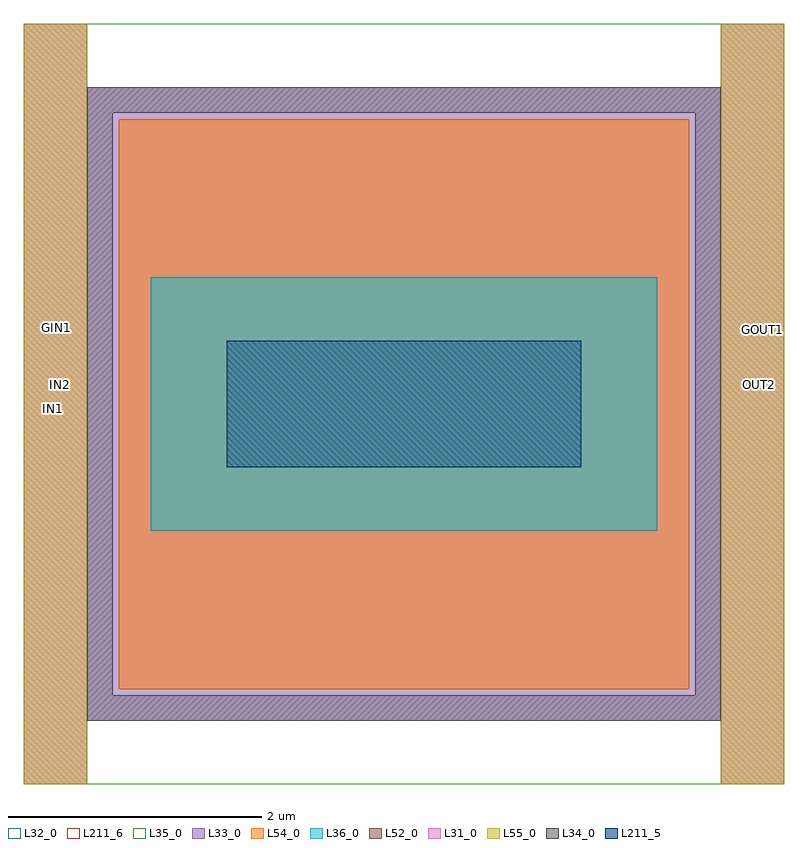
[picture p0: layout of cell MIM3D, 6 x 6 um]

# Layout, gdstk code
import gdstk
lib = gdstk.Library(unit=1e-6, precision=1e-09)
def R(c, l, rs):  # rectangles x0, y0, x1, y1
    for r in rs: c.add(gdstk.rectangle(r[:2], r[2:], *l))
def P(c, l, *ps):  # polygons
    for p in ps: c.add(gdstk.Polygon(p, *l))
L31_0 = (31, 0)
L32_0 = (32, 0)
L33_0 = (33, 0)
L34_0 = (34, 0)
L35_0 = (35, 0)
L36_0 = (36, 0)
L52_0 = (52, 0)
L54_0 = (54, 0)
L55_0 = (55, 0)
L211_5 = (211, 5)
L211_6 = (211, 6)

mim3d = lib.new_cell('MIM3D')
R(mim3d, L31_0, [(-3,-3,-2.5,3), (2.5,-3,3,3)])
R(mim3d, L32_0, [(-3,-3,3,3)])
R(mim3d, L33_0, [(-2.5,-2.5,2.5,2.5)])
P(mim3d, L34_0, [(2.5,2.5),(2.3,2.5),(2.3,-2.3),(-2.3,-2.3),(-2.3,2.3),(2.3,2.3),(2.3,2.5),(-2.5,2.5),(-2.5,-2.5),(2.5,-2.5)])
R(mim3d, L35_0, [(-3,-3,3,3)])
R(mim3d, L36_0, [(-2,-1,2,1)])
R(mim3d, L52_0, [(-3,-3,-2.5,3), (2.5,-3,3,3)])
R(mim3d, L54_0, [(-2.25,-2.25,2.25,2.25)])
R(mim3d, L55_0, [(-3,-3,-2.5,3), (2.5,-3,3,3)])
R(mim3d, L211_5, [(-1.4,-0.5,1.4,0.5)])
R(mim3d, L211_6, [(-3,-3,3,3)])
mim3d.add(gdstk.Label('GOUT1', (2.83,0.585), layer=132, texttype=0))
mim3d.add(gdstk.Label('GIN1', (-2.74,0.605), layer=132, texttype=0))
mim3d.add(gdstk.Label('OUT2', (2.805,0.155), layer=135, texttype=0))
mim3d.add(gdstk.Label('IN2', (-2.715,0.155), layer=135, texttype=0))
mim3d.add(gdstk.Label('OUT1', (2.74,0.05), layer=131, texttype=0))
mim3d.add(gdstk.Label('IN1', (-2.77,-0.035), layer=131, texttype=0))

lib.write_gds('MIM3D.gds')
